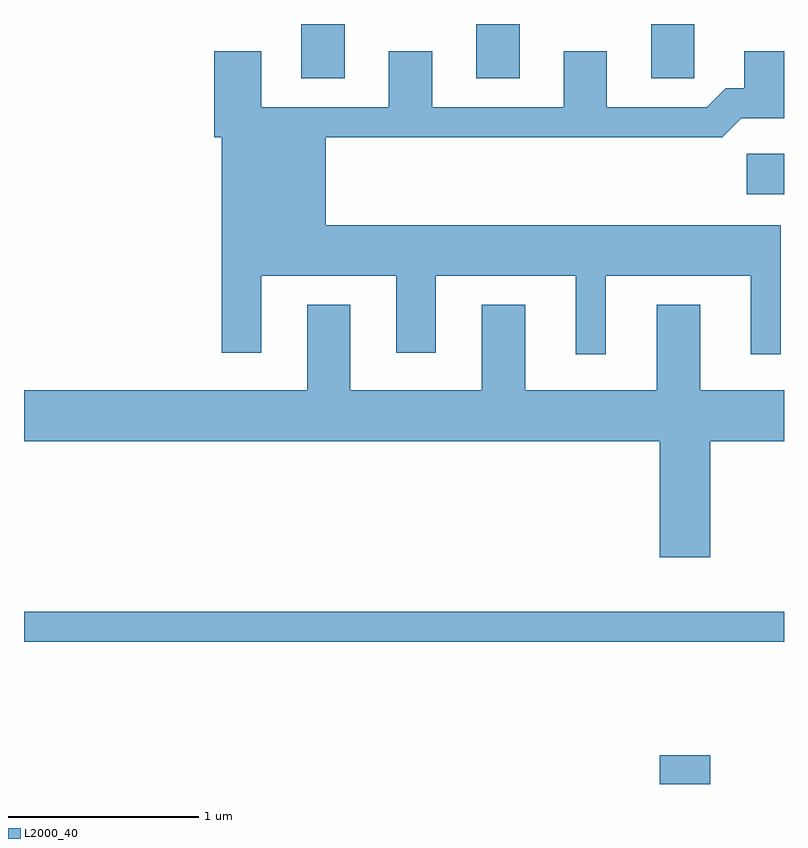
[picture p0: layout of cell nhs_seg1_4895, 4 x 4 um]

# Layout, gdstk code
import gdstk
lib = gdstk.Library(unit=1e-6, precision=1e-09)
def R(c, l, rs):  # rectangles x0, y0, x1, y1
    for r in rs: c.add(gdstk.rectangle(r[:2], r[2:], *l))
def A(c, l, x, y, w, h, nx, ny, dx, dy):  # array of equal rectangles
    R(c, l, [(x+i*dx, y+j*dy, x+i*dx+w, y+j*dy+h) for i in range(nx) for j in range(ny)])
def P(c, l, *ps):  # polygons
    for p in ps: c.add(gdstk.Polygon(p, *l))
L2000_40 = (2000, 40)

nhs_seg1_4895 = lib.new_cell('nhs_seg1_4895')
A(nhs_seg1_4895, L2000_40, 333.071, 961.426, 0.228, 0.286, 3, 1, 0.92, 0)
R(nhs_seg1_4895, L2000_40, [(334.956,957.712,335.224,957.864), (331.611,958.461,335.611,958.619), (335.416,960.816,335.611,961.029)])
P(nhs_seg1_4895, L2000_40, [(334.674,960.386),(335.436,960.386),(335.436,959.973),(335.594,959.973),(335.594,960.654),(333.199,960.654),(333.199,961.116),(335.287,961.116),(335.387,961.216),(335.611,961.216),(335.611,961.569),(335.401,961.569),(335.401,961.374),(335.304,961.374),(335.204,961.274),(334.679,961.274),(334.679,961.569),(334.451,961.569),(334.451,961.274),(333.759,961.274),(333.759,961.569),(333.531,961.569),(333.531,961.274),(332.859,961.274),(332.859,961.569),(332.611,961.569),(332.611,961.116),(332.651,961.116),(332.651,959.981),(332.859,959.981),(332.859,960.386),(333.571,960.386),(333.571,959.981),(333.779,959.981),(333.779,960.386),(334.516,960.386),(334.516,959.973),(334.674,959.973)],
  [(335.224,959.516),(335.611,959.516),(335.611,959.784),(335.169,959.784),(335.169,960.234),(334.941,960.234),(334.941,959.784),(334.249,959.784),(334.249,960.234),(334.021,960.234),(334.021,959.784),(333.329,959.784),(333.329,960.234),(333.101,960.234),(333.101,959.784),(331.611,959.784),(331.611,959.516),(334.956,959.516),(334.956,958.906),(335.224,958.906)])

lib.write_gds('nhs_seg1_4895.gds')
